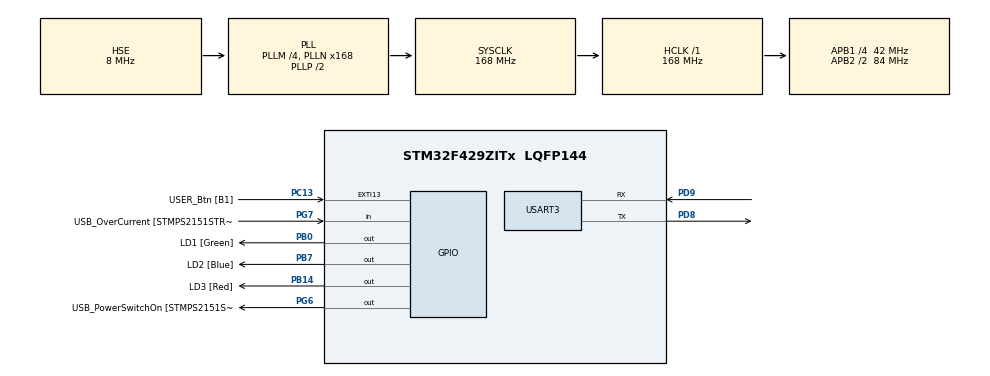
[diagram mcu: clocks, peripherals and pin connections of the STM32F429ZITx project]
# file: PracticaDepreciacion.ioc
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Dma.Request0=USART3_RX
Dma.USART3_RX.0.Direction=DMA_PERIPH_TO_MEMORY
Dma.USART3_RX.0.FIFOMode=DMA_FIFOMODE_DISABLE
Dma.USART3_RX.0.Instance=DMA1_Stream1
Dma.USART3_RX.0.MemDataAlignment=DMA_MDATAALIGN_BYTE
Dma.USART3_RX.0.MemInc=DMA_MINC_ENABLE
Dma.USART3_RX.0.Mode=DMA_CIRCULAR
Dma.USART3_RX.0.PeriphDataAlignment=DMA_PDATAALIGN_BYTE
Dma.USART3_RX.0.PeriphInc=DMA_PINC_DISABLE
Dma.USART3_RX.0.Priority=DMA_PRIORITY_LOW
Mcu.Family=STM32F4
Mcu.Name=STM32F429ZITx
Mcu.Package=LQFP144
NVIC.DMA1_Stream1_IRQn=true\:0\:0\:false\:false\:true\:false\:true\:true
NVIC.PriorityGroup=NVIC_PRIORITYGROUP_4
NVIC.USART3_IRQn=true\:0\:0\:false\:false\:true\:true\:true\:true
PA1.GPIO_Label=RMII_REF_CLK [LAN8742A-CZ-TR_REFCLK0]
PA1.Signal=ETH_REF_CLK
PA10.GPIO_Label=USB_ID
PA10.Signal=USB_OTG_FS_ID
PA11.GPIO_Label=USB_DM
PA11.Signal=USB_OTG_FS_DM
PA12.GPIO_Label=USB_DP
PA12.Signal=USB_OTG_FS_DP
PA13.GPIO_Label=TMS
PA13.Mode=Serial_Wire
PA13.Signal=SYS_JTMS-SWDIO
PA14.GPIO_Label=TCK
PA14.Mode=Serial_Wire
PA14.Signal=SYS_JTCK-SWCLK
PA2.GPIO_Label=RMII_MDIO [LAN8742A-CZ-TR_MDIO]
PA2.Signal=ETH_MDIO
PA7.GPIO_Label=RMII_CRS_DV [LAN8742A-CZ-TR_CRS_DV]
PA7.Signal=ETH_CRS_DV
PA8.GPIO_Label=USB_SOF [TP1]
PA8.Signal=USB_OTG_FS_SOF
PA9.GPIO_Label=USB_VBUS
PA9.Signal=USB_OTG_FS_VBUS
PB0.GPIO_Label=LD1 [Green]
PB0.Signal=GPIO_Output
PB13.GPIO_Label=RMII_TXD1 [LAN8742A-CZ-TR_TXD1]
PB13.Signal=ETH_TXD1
PB14.GPIO_Label=LD3 [Red]
PB14.Signal=GPIO_Output
PB7.GPIO_Label=LD2 [Blue]
PB7.Signal=GPIO_Output
PC1.GPIO_Label=RMII_MDC [LAN8742A-CZ-TR_MDC]
PC1.Signal=ETH_MDC
PC13.GPIO_Label=USER_Btn [B1]
PC13.Signal=GPXTI13
PC14/OSC32_IN.Mode=LSE-External-Oscillator
PC14/OSC32_IN.Signal=RCC_OSC32_IN
PC15/OSC32_OUT.Mode=LSE-External-Oscillator
PC15/OSC32_OUT.Signal=RCC_OSC32_OUT
PC4.GPIO_Label=RMII_RXD0 [LAN8742A-CZ-TR_RXD0]
PC4.Signal=ETH_RXD0
PC5.GPIO_Label=RMII_RXD1 [LAN8742A-CZ-TR_RXD1]
PC5.Signal=ETH_RXD1
PD8.GPIO_ModeDefaultPP=GPIO_MODE_AF_PP
PD8.GPIO_PuPd=GPIO_NOPULL
PD8.GPIO_Speed=GPIO_SPEED_FREQ_VERY_HIGH
PD8.Mode=Asynchronous
PD8.Signal=USART3_TX
PD9.GPIO_ModeDefaultPP=GPIO_MODE_AF_PP
PD9.GPIO_PuPd=GPIO_NOPULL
PD9.GPIO_Speed=GPIO_SPEED_FREQ_VERY_HIGH
PD9.Mode=Asynchronous
PD9.Signal=USART3_RX
PG11.GPIO_Label=RMII_TX_EN [LAN8742A-CZ-TR_TXEN]
PG11.Signal=ETH_TX_EN
PG13.GPIO_Label=RMII_TXD0 [LAN8742A-CZ-TR_TXD0]
PG13.Signal=ETH_TXD0
PG6.GPIO_Label=USB_PowerSwitchOn [STMPS2151STR_EN]
PG6.Signal=GPIO_Output
PG7.GPIO_Label=USB_OverCurrent [STMPS2151STR_FAULT]
PG7.Signal=GPIO_Input
PH0/OSC_IN.GPIO_Label=MCO [STM32F103CBT6_PA8]
PH0/OSC_IN.Mode=HSE-External-Clock-Source
PH0/OSC_IN.Signal=RCC_OSC_IN
PH1/OSC_OUT.Mode=HSE-External-Clock-Source
PH1/OSC_OUT.Signal=RCC_OSC_OUT
ProjectManager.HeapSize=0x200
ProjectManager.StackSize=0x400
ProjectManager.TargetToolchain=STM32CubeIDE
RCC.48MHZClocksFreq_Value=48000000
RCC.AHBFreq_Value=168000000
RCC.APB1CLKDivider=RCC_HCLK_DIV4
RCC.APB1Freq_Value=42000000
RCC.APB1TimFreq_Value=84000000
RCC.APB2CLKDivider=RCC_HCLK_DIV2
RCC.APB2Freq_Value=84000000
RCC.APB2TimCLKDivider=2
RCC.APB2TimFreq_Value=168000000
RCC.CortexFreq_Value=168000000
RCC.HCLKFreq_Value=168000000
RCC.HSE_VALUE=8000000
RCC.HSI_VALUE=16000000
RCC.PLLM=4
RCC.PLLMUL=RCC_PLL_MUL9
RCC.PLLN=168
RCC.PLLQ=7
RCC.PLLSourceVirtual=RCC_PLLSOURCE_HSE
RCC.PRESCALERUSB=RCC_USBCLKSOURCE_PLL_DIV1_5
RCC.SYSCLKFreq_VALUE=168000000
RCC.SYSCLKSource=RCC_SYSCLKSOURCE_PLLCLK
RCC.SYSCLKSourceVirtual=RCC_SYSCLKSOURCE_PLLCLK
RCC.USBFreq_Value=48000000
RCC.VCOOutputFreq_Value=336000000
USART3.VirtualMode=VM_ASYNC
board=NUCLEO-F429ZI

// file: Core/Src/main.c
/* USER CODE BEGIN Header */
/**
  ******************************************************************************
  * @file           : main.c
  * @brief          : Main program body
  ******************************************************************************
  * @attention
  *
  * Copyright (c) 2022 STMicroelectronics.
  * All rights reserved.
  *
  * This software is licensed under terms that can be found in the LICENSE file
  * in the root directory of this software component.
  * If no LICENSE file comes with this software, it is provided AS-IS.
  *
  ******************************************************************************
  */
/* USER CODE END Header */
#include "main.h"

UART_HandleTypeDef huart3;
DMA_HandleTypeDef hdma_usart3_rx;

/* USER CODE BEGIN PV */

uint8_t aRXBufferUser[RX_BUFFER_SIZE];

uint8_t aRXBufferA[RX_BUFFER_SIZE];
uint8_t aRXBufferB[RX_BUFFER_SIZE];

__IO uint32_t     uwNbReceivedChars;
uint8_t *pBufferReadyForUser;
uint8_t *pBufferReadyForReception;

/* USER CODE END PV */

void SystemClock_Config(void);
static void MX_GPIO_Init(void);
static void MX_DMA_Init(void);
static void MX_USART3_UART_Init(void);
/* USER CODE BEGIN PFP */

void mensajeBienvenida(void);
void mostrarMenu(void);
void iniciarRecepcion(void);
void HAL_UARTEx_RxEventCallback(UART_HandleTypeDef *huart, uint16_t Size);
void UserDataTreatment(UART_HandleTypeDef *huart, uint8_t* pData, uint16_t Size);

/* USER CODE END PFP */

int main(void)
{
  /* USER CODE BEGIN 1 */

	int metodo = 0, valorInicial = 0, vidaUtil = 0, deprec = 0, tiempo = 0;

  /* USER CODE END 1 */

  /* MCU Configuration--------------------------------------------------------*/

  /* Reset of all peripherals, Initializes the Flash interface and the Systick. */
  HAL_Init();

  /* Configure the system clock */
  SystemClock_Config();

  /* Initialize all configured peripherals */
  MX_GPIO_Init();
  MX_DMA_Init();
  MX_USART3_UART_Init();
  /* USER CODE BEGIN 2 */

  mensajeBienvenida();
  mostrarMenu();
  iniciarRecepcion();

  /* USER CODE END 2 */

  /* Infinite loop */
  while (1)
  {

  }
}

void SystemClock_Config(void)
{
  RCC_OscInitTypeDef RCC_OscInitStruct = {0};
  RCC_ClkInitTypeDef RCC_ClkInitStruct = {0};

  /** Configure the main internal regulator output voltage
  */
  __HAL_RCC_PWR_CLK_ENABLE();
  __HAL_PWR_VOLTAGESCALING_CONFIG(PWR_REGULATOR_VOLTAGE_SCALE1);

  /** Initializes the RCC Oscillators according to the specified parameters
  * in the RCC_OscInitTypeDef structure.
  */
  RCC_OscInitStruct.OscillatorType = RCC_OSCILLATORTYPE_HSE;
  RCC_OscInitStruct.HSEState = RCC_HSE_BYPASS;
  RCC_OscInitStruct.PLL.PLLState = RCC_PLL_ON;
  RCC_OscInitStruct.PLL.PLLSource = RCC_PLLSOURCE_HSE;
  RCC_OscInitStruct.PLL.PLLM = 4;
  RCC_OscInitStruct.PLL.PLLN = 168;
  RCC_OscInitStruct.PLL.PLLP = RCC_PLLP_DIV2;
  RCC_OscInitStruct.PLL.PLLQ = 7;
  if (HAL_RCC_OscConfig(&RCC_OscInitStruct) != HAL_OK)
  {
    Error_Handler();
  }

  /** Initializes the CPU, AHB and APB buses clocks
  */
  RCC_ClkInitStruct.ClockType = RCC_CLOCKTYPE_HCLK|RCC_CLOCKTYPE_SYSCLK
                              |RCC_CLOCKTYPE_PCLK1|RCC_CLOCKTYPE_PCLK2;
  RCC_ClkInitStruct.SYSCLKSource = RCC_SYSCLKSOURCE_PLLCLK;
  RCC_ClkInitStruct.AHBCLKDivider = RCC_SYSCLK_DIV1;
  RCC_ClkInitStruct.APB1CLKDivider = RCC_HCLK_DIV4;
  RCC_ClkInitStruct.APB2CLKDivider = RCC_HCLK_DIV2;

  if (HAL_RCC_ClockConfig(&RCC_ClkInitStruct, FLASH_LATENCY_5) != HAL_OK)
  {
    Error_Handler();
  }
}

static void MX_USART3_UART_Init(void)
{

  huart3.Instance = USART3;
  huart3.Init.BaudRate = 115200;
  huart3.Init.WordLength = UART_WORDLENGTH_8B;
  huart3.Init.StopBits = UART_STOPBITS_1;
  huart3.Init.Parity = UART_PARITY_NONE;
  huart3.Init.Mode = UART_MODE_TX_RX;
  huart3.Init.HwFlowCtl = UART_HWCONTROL_NONE;
  huart3.Init.OverSampling = UART_OVERSAMPLING_16;
  if (HAL_UART_Init(&huart3) != HAL_OK)
  {
    Error_Handler();
  }

}

static void MX_DMA_Init(void)
{

  /* DMA controller clock enable */
  __HAL_RCC_DMA1_CLK_ENABLE();

  /* DMA interrupt init */
  /* DMA1_Stream1_IRQn interrupt configuration */
  HAL_NVIC_SetPriority(DMA1_Stream1_IRQn, 0, 0);
  HAL_NVIC_EnableIRQ(DMA1_Stream1_IRQn);

}

static void MX_GPIO_Init(void)
{
  GPIO_InitTypeDef GPIO_InitStruct = {0};

  /* GPIO Ports Clock Enable */
  __HAL_RCC_GPIOC_CLK_ENABLE();
  __HAL_RCC_GPIOH_CLK_ENABLE();
  __HAL_RCC_GPIOA_CLK_ENABLE();
  __HAL_RCC_GPIOB_CLK_ENABLE();
  __HAL_RCC_GPIOD_CLK_ENABLE();
  __HAL_RCC_GPIOG_CLK_ENABLE();

  /*Configure GPIO pin Output Level */
  HAL_GPIO_WritePin(GPIOB, LD1_Pin|LD3_Pin|LD2_Pin, GPIO_PIN_RESET);

  /*Configure GPIO pin Output Level */
  HAL_GPIO_WritePin(USB_PowerSwitchOn_GPIO_Port, USB_PowerSwitchOn_Pin, GPIO_PIN_RESET);

  /*Configure GPIO pin : USER_Btn_Pin */
  GPIO_InitStruct.Pin = USER_Btn_Pin;
  GPIO_InitStruct.Mode = GPIO_MODE_IT_RISING;
  GPIO_InitStruct.Pull = GPIO_NOPULL;
  HAL_GPIO_Init(USER_Btn_GPIO_Port, &GPIO_InitStruct);

  /*Configure GPIO pins : RMII_MDC_Pin RMII_RXD0_Pin RMII_RXD1_Pin */
  GPIO_InitStruct.Pin = RMII_MDC_Pin|RMII_RXD0_Pin|RMII_RXD1_Pin;
  GPIO_InitStruct.Mode = GPIO_MODE_AF_PP;
  GPIO_InitStruct.Pull = GPIO_NOPULL;
  GPIO_InitStruct.Speed = GPIO_SPEED_FREQ_VERY_HIGH;
  GPIO_InitStruct.Alternate = GPIO_AF11_ETH;
  HAL_GPIO_Init(GPIOC, &GPIO_InitStruct);

  /*Configure GPIO pins : RMII_REF_CLK_Pin RMII_MDIO_Pin RMII_CRS_DV_Pin */
  GPIO_InitStruct.Pin = RMII_REF_CLK_Pin|RMII_MDIO_Pin|RMII_CRS_DV_Pin;
  GPIO_InitStruct.Mode = GPIO_MODE_AF_PP;
  GPIO_InitStruct.Pull = GPIO_NOPULL;
  GPIO_InitStruct.Speed = GPIO_SPEED_FREQ_VERY_HIGH;
  GPIO_InitStruct.Alternate = GPIO_AF11_ETH;
  HAL_GPIO_Init(GPIOA, &GPIO_InitStruct);

  /*Configure GPIO pins : LD1_Pin LD3_Pin LD2_Pin */
  GPIO_InitStruct.Pin = LD1_Pin|LD3_Pin|LD2_Pin;
  GPIO_InitStruct.Mode = GPIO_MODE_OUTPUT_PP;
  GPIO_InitStruct.Pull = GPIO_NOPULL;
  GPIO_InitStruct.Speed = GPIO_SPEED_FREQ_LOW;
  HAL_GPIO_Init(GPIOB, &GPIO_InitStruct);

  /*Configure GPIO pin : RMII_TXD1_Pin */
  GPIO_InitStruct.Pin = RMII_TXD1_Pin;
  GPIO_InitStruct.Mode = GPIO_MODE_AF_PP;
  GPIO_InitStruct.Pull = GPIO_NOPULL;
  GPIO_InitStruct.Speed = GPIO_SPEED_FREQ_VERY_HIGH;
  GPIO_InitStruct.Alternate = GPIO_AF11_ETH;
  HAL_GPIO_Init(RMII_TXD1_GPIO_Port, &GPIO_InitStruct);

  /*Configure GPIO pin : USB_PowerSwitchOn_Pin */
  GPIO_InitStruct.Pin = USB_PowerSwitchOn_Pin;
  GPIO_InitStruct.Mode = GPIO_MODE_OUTPUT_PP;
  GPIO_InitStruct.Pull = GPIO_NOPULL;
  GPIO_InitStruct.Speed = GPIO_SPEED_FREQ_LOW;
  HAL_GPIO_Init(USB_PowerSwitchOn_GPIO_Port, &GPIO_InitStruct);

  /*Configure GPIO pin : USB_OverCurrent_Pin */
  GPIO_InitStruct.Pin = USB_OverCurrent_Pin;
  GPIO_InitStruct.Mode = GPIO_MODE_INPUT;
  GPIO_InitStruct.Pull = GPIO_NOPULL;
  HAL_GPIO_Init(USB_OverCurrent_GPIO_Port, &GPIO_InitStruct);

  /*Configure GPIO pins : USB_SOF_Pin USB_ID_Pin USB_DM_Pin USB_DP_Pin */
  GPIO_InitStruct.Pin = USB_SOF_Pin|USB_ID_Pin|USB_DM_Pin|USB_DP_Pin;
  GPIO_InitStruct.Mode = GPIO_MODE_AF_PP;
  GPIO_InitStruct.Pull = GPIO_NOPULL;
  GPIO_InitStruct.Speed = GPIO_SPEED_FREQ_VERY_HIGH;
  GPIO_InitStruct.Alternate = GPIO_AF10_OTG_FS;
  HAL_GPIO_Init(GPIOA, &GPIO_InitStruct);

  /*Configure GPIO pin : USB_VBUS_Pin */
  GPIO_InitStruct.Pin = USB_VBUS_Pin;
  GPIO_InitStruct.Mode = GPIO_MODE_INPUT;
  GPIO_InitStruct.Pull = GPIO_NOPULL;
  HAL_GPIO_Init(USB_VBUS_GPIO_Port, &GPIO_InitStruct);

  /*Configure GPIO pins : RMII_TX_EN_Pin RMII_TXD0_Pin */
  GPIO_InitStruct.Pin = RMII_TX_EN_Pin|RMII_TXD0_Pin;
  GPIO_InitStruct.Mode = GPIO_MODE_AF_PP;
  GPIO_InitStruct.Pull = GPIO_NOPULL;
  GPIO_InitStruct.Speed = GPIO_SPEED_FREQ_VERY_HIGH;
  GPIO_InitStruct.Alternate = GPIO_AF11_ETH;
  HAL_GPIO_Init(GPIOG, &GPIO_InitStruct);

}

/* USER CODE BEGIN 4 */

void mensajeBienvenida(void)
{
	char mensaje[] = "\r\nSistema inicializado. Programa: Cálculo de Depreciaciones\r\n";
	if (HAL_OK != HAL_UART_Transmit(&huart3, mensaje, strlen(mensaje), 100))
	{
		Error_Handler();
	}
}

void mostrarMenu(void)
{
	int largoFila = 61;
	char separador[largoFila];
	memset(separador, '*', largoFila-1);
	char saltoDeLinea[] = "\r\n";
	char marco[] = "*                                                          *";
	char titulo[largoFila];
	char opcionLineaRecta[largoFila];
	char opcionBalanceDoble[largoFila];
	char opcionSumaDigitos[largoFila];
	char temp[largoFila];

	strcpy(temp, marco);
	strcpy(titulo, "Seleccione el metodo de calculo que desea utilizar");
	strncpy(temp + 2, titulo, strlen(titulo));
	strcpy(titulo, temp);

	strcpy(temp, marco);
	strcpy(opcionLineaRecta, "1) Metodo de linea recta");
	strncpy(temp + 2, opcionLineaRecta , strlen(opcionLineaRecta));
	strcpy(opcionLineaRecta, temp);

	strcpy(temp, marco);
	strcpy(opcionBalanceDoble, "2) Metodo de balance doblemente declinante");
	strncpy(temp + 2, opcionBalanceDoble, strlen(opcionBalanceDoble));
	strcpy(opcionBalanceDoble, temp);

	strcpy(temp, marco);
	strcpy(opcionSumaDigitos, "3) Metodo de la suma de los digitos de los anos");
	strncpy(temp + 2, opcionSumaDigitos, strlen(opcionSumaDigitos));
	strcpy(opcionSumaDigitos, temp);

	HAL_UART_Transmit(&huart3, saltoDeLinea, 2, 100);
	HAL_UART_Transmit(&huart3, separador, largoFila, 100);
	HAL_UART_Transmit(&huart3, saltoDeLinea, 2, 100);
	HAL_UART_Transmit(&huart3, titulo, largoFila, 100);
	HAL_UART_Transmit(&huart3, saltoDeLinea, 2, 100);
	HAL_UART_Transmit(&huart3, marco, largoFila, 100);
	HAL_UART_Transmit(&huart3, saltoDeLinea, 2, 100);
	HAL_UART_Transmit(&huart3, opcionLineaRecta, largoFila, 100);
	HAL_UART_Transmit(&huart3, saltoDeLinea, 2, 100);
	HAL_UART_Transmit(&huart3, opcionBalanceDoble, largoFila, 100);
	HAL_UART_Transmit(&huart3, saltoDeLinea, 2, 100);
	HAL_UART_Transmit(&huart3, opcionSumaDigitos, largoFila, 100);
	HAL_UART_Transmit(&huart3, saltoDeLinea, 2, 100);
	HAL_UART_Transmit(&huart3, marco, largoFila, 100);
	HAL_UART_Transmit(&huart3, saltoDeLinea, 2, 100);
	HAL_UART_Transmit(&huart3, separador, largoFila, 100);
	HAL_UART_Transmit(&huart3, saltoDeLinea, 2, 100);
	HAL_UART_Transmit(&huart3, saltoDeLinea, 2, 100);

	HAL_UART_Transmit(&huart3, "Opción seleccionada: ", 21, 100);

}

void iniciarRecepcion(void)
{
	pBufferReadyForReception = aRXBufferA;
	pBufferReadyForUser      = aRXBufferB;
	uwNbReceivedChars        = 0;

	if (HAL_OK != HAL_UARTEx_ReceiveToIdle_DMA(&huart3, aRXBufferUser, RX_BUFFER_SIZE))
	{
		Error_Handler();
	}
}

void HAL_UARTEx_RxEventCallback(UART_HandleTypeDef *huart, uint16_t Size)
{
  static uint8_t old_pos = 0;
  uint8_t *ptemp;
  uint8_t i;

  /* Check if number of received data in reception buffer has changed */
  if (Size != old_pos)
  {
    /* Check if position of index in reception buffer has simply be increased
       of if end of buffer has been reached */
    if (Size > old_pos)
    {
      /* Current position is higher than previous one */
      uwNbReceivedChars = Size - old_pos;
      /* Copy received data in "User" buffer for evacuation */
      for (i = 0; i < uwNbReceivedChars; i++)
      {
        pBufferReadyForUser[i] = aRXBufferUser[old_pos + i];
      }
    }
    else
    {
      /* Current position is lower than previous one : end of buffer has been reached */
      /* First copy data from current position till end of buffer */
      uwNbReceivedChars = RX_BUFFER_SIZE - old_pos;
      /* Copy received data in "User" buffer for evacuation */
      for (i = 0; i < uwNbReceivedChars; i++)
      {
        pBufferReadyForUser[i] = aRXBufferUser[old_pos + i];
      }
      /* Check and continue with beginning of buffer */
      if (Size > 0)
      {
        for (i = 0; i < Size; i++)
        {
          pBufferReadyForUser[uwNbReceivedChars + i] = aRXBufferUser[i];
        }
        uwNbReceivedChars += Size;
      }
    }
    /* Process received data that has been extracted from Rx User buffer */
    UserDataTreatment(huart, pBufferReadyForUser, uwNbReceivedChars);

    /* Swap buffers for next bytes to be processed */
    ptemp = pBufferReadyForUser;
    pBufferReadyForUser = pBufferReadyForReception;
    pBufferReadyForReception = ptemp;
  }
  /* Update old_pos as new reference of position in User Rx buffer that
     indicates position to which data have been processed */
  old_pos = Size;

}

void UserDataTreatment(UART_HandleTypeDef *huart, uint8_t* pData, uint16_t Size)
{
  /*
   * This function might be called in any of the following interrupt contexts :
   *  - DMA TC and HT events
   *  - UART IDLE line event
   *
   * pData and Size defines the buffer where received data have been copied, in order to be processed.
   * During this processing of already received data, reception is still ongoing.
   *
   */
  uint8_t* pBuff = pData;
  uint8_t  i;

  /* Implementation of loopback is on purpose implemented in direct register access,
     in order to be able to echo received characters as fast as they are received.
     Wait for TC flag to be raised at end of transmit is then removed, only TXE is checked */
  for (i = 0; i < Size; i++)
  {
	 while (!(__HAL_UART_GET_FLAG(huart, UART_FLAG_TXE))) {}
	 huart->Instance->DR = *pBuff;
	 pBuff++;
  }

}

/* USER CODE END 4 */

void Error_Handler(void)
{
  __disable_irq();
  while (1)
  {
  }
}
